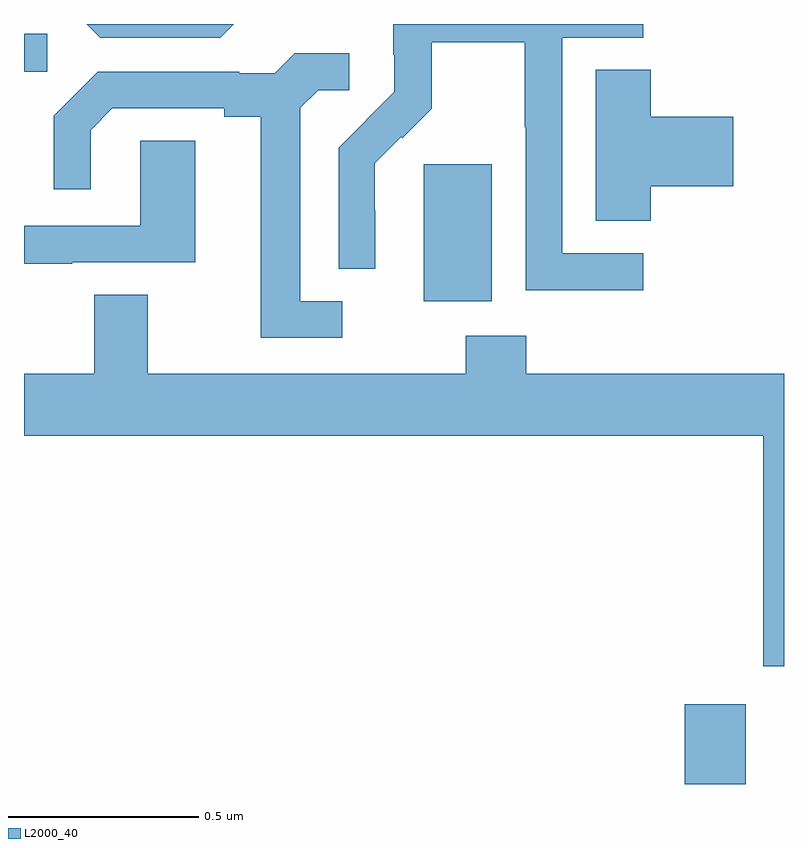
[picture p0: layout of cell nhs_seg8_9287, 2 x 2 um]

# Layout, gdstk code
import gdstk
lib = gdstk.Library(unit=1e-6, precision=1e-09)
def R(c, l, rs):  # rectangles x0, y0, x1, y1
    for r in rs: c.add(gdstk.rectangle(r[:2], r[2:], *l))
def P(c, l, *ps):  # polygons
    for p in ps: c.add(gdstk.Polygon(p, *l))
L2000_40 = (2000, 40)

nhs_seg8_9287 = lib.new_cell('nhs_seg8_9287')
R(nhs_seg8_9287, L2000_40, [(235.739,1132.9,235.899,1133.11), (235.052,1134.17,235.231,1134.531), (234,1134.774,234.061,1134.875)])
P(nhs_seg8_9287, L2000_40, [(234.552,1134.9),(234.165,1134.9),(234.201,1134.864),(234.516,1134.864)],
  [(235.63,1134.297),(235.416,1134.297),(235.416,1134.864),(235.63,1134.864),(235.63,1134.9),(234.972,1134.9),(234.972,1134.819),(234.974,1134.819),(234.974,1134.722),(234.9,1134.648),(234.901,1134.647),(234.828,1134.574),(234.828,1134.256),(234.924,1134.256),(234.924,1134.41),(234.923,1134.41),(234.923,1134.533),(234.993,1134.603),(234.996,1134.6),(235.073,1134.677),(235.073,1134.852),(235.318,1134.852),(235.318,1134.628),(235.32,1134.628),(235.32,1134.199),(235.63,1134.199)],
  [(234.838,1134.171),(234.727,1134.171),(234.727,1134.679),(234.774,1134.726),(234.856,1134.726),(234.856,1134.823),(234.712,1134.823),(234.66,1134.771),(234.566,1134.771),(234.566,1134.774),(234.194,1134.774),(234.078,1134.658),(234.078,1134.465),(234.175,1134.465),(234.175,1134.621),(234.232,1134.678),(234.527,1134.678),(234.527,1134.656),(234.623,1134.656),(234.623,1134.075),(234.838,1134.075)],
  [(235.649,1134.473),(235.867,1134.473),(235.867,1134.656),(235.649,1134.656),(235.649,1134.779),(235.505,1134.779),(235.505,1134.382),(235.649,1134.382)],
  [(234.127,1134.273),(234.451,1134.273),(234.451,1134.593),(234.306,1134.593),(234.306,1134.369),(234,1134.369),(234,1134.269),(234.127,1134.269)],
  [(236,1133.98),(235.322,1133.98),(235.322,1134.079),(235.162,1134.079),(235.162,1133.98),(234.325,1133.98),(234.325,1134.188),(234.185,1134.188),(234.185,1133.98),(234,1133.98),(234,1133.816),(235.946,1133.816),(235.946,1133.21),(236,1133.21)])

lib.write_gds('nhs_seg8_9287.gds')
